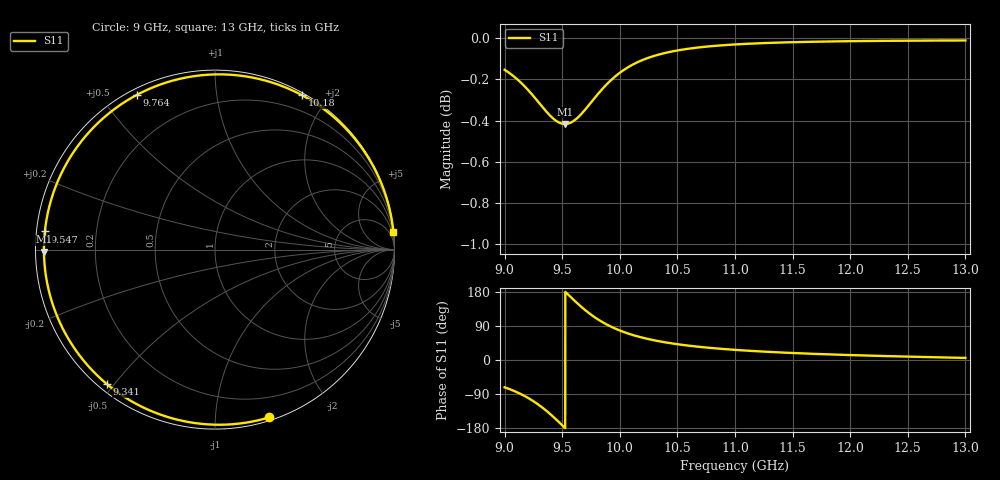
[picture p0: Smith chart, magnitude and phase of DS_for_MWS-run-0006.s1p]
! TOUCHSTONE file generated by CST DESIGN STUDIO
! Date and time: Tue Feb  4 13:33:46 2025
! Project name: C:\Work\MatlabApps\UnitCellOptimizationMatlab\CST\unitcell.cst
! Tree item: Tasks\Sweep1\SPara1\S-Parameters
! Header version: 2024
! Port assignment regex: !\s*Touchstone port\s*([0-9]+)\s*=\s*(CST MWS port|CST DES external port|CST DES block port)\s*(.+)\s* \(\"(.*)\"\)(\s*mode\s*([0-9]+))?.*
! Touchstone port assignment:
! Touchstone port 1 = CST DES external port 1 ("")
# GHz S MA R 50
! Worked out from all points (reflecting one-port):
!   4001 points, 9 GHz to 13 GHz, reference 50 ohm
!   lowest |S11| = -0.4 dB at 9.524 GHz (marker M1), VSWR 41.70, Z = 1.2 - j0.31 ohm
!   phase of S11 starts at -72 deg and turns -282 deg over the sweep
!   S11 on the Smith chart (normalised r, x): 9 GHz: 0.03, -1.37; 9.341 GHz: 0.02, -0.48; 9.547 GHz: 0.02, +0.05; 9.764 GHz: 0.02, +0.62; 10.18 GHz: 0.03, +1.71; 13 GHz: 0, +21
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9  0.9825 -72.1
9.093  0.9782 -83.1
9.199  0.9718 -99.3
9.273  0.9665 -113.4
9.341  0.9614 -128.7
9.384  0.9584 -139.5
9.429  0.9557 -151.7
9.5  0.9533 -172.2
9.524  0.9532 -179.3
9.547  0.9533 173.9
9.601  0.9549 158.1
9.661  0.9582 141.6
9.712  0.9618 128.6
9.764  0.9658 116.7
9.813  0.9695 106.7
9.867  0.9733 96.9
9.933  0.9774 86.6
10  0.9809 77.8
10.084  0.9844 68.7
10.175  0.9873 60.6
10.323  0.9907 50.5
10.5  0.9932 41.7
10.721  0.9952 33.8
11  0.9966 26.7
11.5  0.9978 18.5
12  0.9984 13.0
12.5  0.9987 8.9
13  0.9988 5.5
